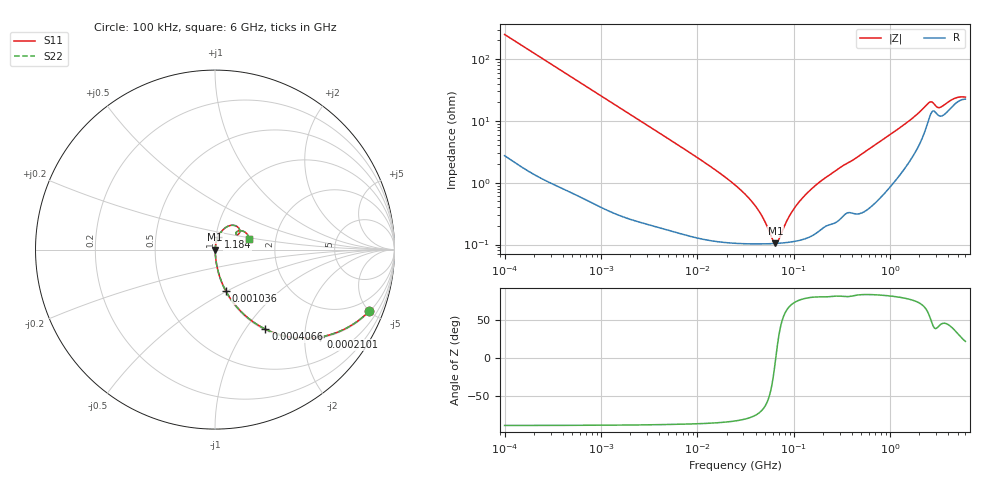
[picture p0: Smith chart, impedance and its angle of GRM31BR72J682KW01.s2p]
!Murata Part Number: GRM31BR72J682KW01
!These Parameters are Measured in Series Mode Connection
!Data Generated on Mar 30, 2021
!  o--ll--o
!Port1  Port2
!  o------o
!Operation Temp=25[degC], DC Bias Voltage=0[V]
!Freq. Start=100[kHz] Stop=6[GHz] 401[Steps]
# Hz S RI R 50
!Freq.(Hz) S11(Real) S11(Imag) S21(Real) S21(Imag) S12(Real) S12(Imag) S22(Real) S22(Imag)
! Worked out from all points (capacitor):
!   401 points, 100 kHz to 6 GHz, reference 50 ohm
!   read as one part in series: C = 6.35 nF near 105.7 kHz
!   lowest |Z| = 104 mohm at 64.15 MHz (marker M1)
!   series resonance near 64.85 MHz, so ESL is about 950 pH
!   S11 on the Smith chart (normalised r, x): 100 kHz: 1.05, -5.00; 210.1 kHz: 1.03, -2.39; 406.6 kHz: 1.02, -1.24; 1.036 MHz: 1.01, -0.49; 1.184 GHz: 1.02, +0.14; 6 GHz: 1.45, +0.18
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100000  0.8596 -0.342  0.1404 0.342  0.1404 0.342  0.8596 -0.342
210148  0.5877 -0.4868  0.4123 0.4868  0.4123 0.4868  0.5877 -0.4868
406644  0.2806 -0.443  0.7194 0.443  0.7194 0.443  0.2806 -0.443
631452  0.1421 -0.3421  0.8579 0.3421  0.8579 0.3421  0.1421 -0.3421
1035994  0.06 -0.2297  0.94 0.2297  0.94 0.2297  0.06 -0.2297
3987316  0.00596 -0.0637  0.994 0.0637  0.994 0.0637  0.00596 -0.0637
2.517799e7  0.00112 -0.00878  0.9989 0.00878  0.9989 0.00878  0.00112 -0.00878
4.130835e7  0.00103 -0.00375  0.999 0.00375  0.999 0.00375  0.00103 -0.00375
4.872031e7  0.00103 -0.00233  0.999 0.00233  0.999 0.00233  0.00103 -0.00233
6.07118e7  0.00103 -0.00053  0.999 0.00053  0.999 0.00053  0.00103 -0.00053
6.414516e7  0.00104 -8.69e-05  0.999 8.69e-05  0.999 8.69e-05  0.00104 -8.69e-05
6.966265e7  0.00105 0.000578  0.999 -0.000578  0.999 -0.000578  0.00105 0.000578
8.44535e7  0.00108 0.00216  0.9989 -0.00216  0.9989 -0.00216  0.00108 0.00216
9.960701e7  0.00113 0.00357  0.9989 -0.00357  0.9989 -0.00357  0.00113 0.00357
1.546735e8  0.00145 0.00797  0.9986 -0.00797  0.9986 -0.00797  0.00145 0.00797
9.76689e8  0.0115 0.0573  0.9885 -0.0573  0.9885 -0.0573  0.0115 0.0573
1.184061e9  0.0167 0.0697  0.9833 -0.0697  0.9833 -0.0697  0.0167 0.0697
1.889928e9  0.0472 0.113  0.9528 -0.113  0.9528 -0.113  0.0472 0.113
2.488279e9  0.1128 0.1334  0.8872 -0.1334  0.8872 -0.1334  0.1128 0.1334
3.187187e9  0.1168 0.0866  0.8832 -0.0866  0.8832 -0.0866  0.1168 0.0866
4.557193e9  0.165 0.0987  0.835 -0.0987  0.835 -0.0987  0.165 0.0987
6e9  0.1881 0.0598  0.8119 -0.0598  0.8119 -0.0598  0.1881 0.0598
